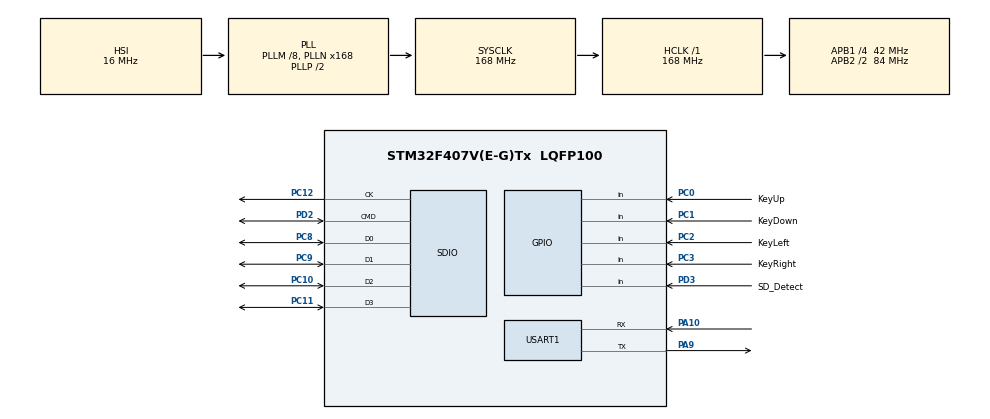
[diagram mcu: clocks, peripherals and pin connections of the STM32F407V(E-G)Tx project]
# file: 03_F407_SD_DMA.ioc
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Dma.Request0=SDIO_TX
Dma.Request1=SDIO_RX
Dma.SDIO_RX.1.Direction=DMA_PERIPH_TO_MEMORY
Dma.SDIO_RX.1.FIFOMode=DMA_FIFOMODE_ENABLE
Dma.SDIO_RX.1.FIFOThreshold=DMA_FIFO_THRESHOLD_FULL
Dma.SDIO_RX.1.Instance=DMA2_Stream6
Dma.SDIO_RX.1.MemBurst=DMA_MBURST_INC4
Dma.SDIO_RX.1.MemDataAlignment=DMA_MDATAALIGN_WORD
Dma.SDIO_RX.1.MemInc=DMA_MINC_ENABLE
Dma.SDIO_RX.1.Mode=DMA_PFCTRL
Dma.SDIO_RX.1.PeriphBurst=DMA_PBURST_INC4
Dma.SDIO_RX.1.PeriphDataAlignment=DMA_PDATAALIGN_WORD
Dma.SDIO_RX.1.PeriphInc=DMA_PINC_DISABLE
Dma.SDIO_RX.1.Priority=DMA_PRIORITY_MEDIUM
Dma.SDIO_TX.0.Direction=DMA_MEMORY_TO_PERIPH
Dma.SDIO_TX.0.FIFOMode=DMA_FIFOMODE_ENABLE
Dma.SDIO_TX.0.FIFOThreshold=DMA_FIFO_THRESHOLD_FULL
Dma.SDIO_TX.0.Instance=DMA2_Stream3
Dma.SDIO_TX.0.MemBurst=DMA_MBURST_INC4
Dma.SDIO_TX.0.MemDataAlignment=DMA_MDATAALIGN_WORD
Dma.SDIO_TX.0.MemInc=DMA_MINC_ENABLE
Dma.SDIO_TX.0.Mode=DMA_PFCTRL
Dma.SDIO_TX.0.PeriphBurst=DMA_PBURST_INC4
Dma.SDIO_TX.0.PeriphDataAlignment=DMA_PDATAALIGN_WORD
Dma.SDIO_TX.0.PeriphInc=DMA_PINC_DISABLE
Dma.SDIO_TX.0.Priority=DMA_PRIORITY_MEDIUM
Mcu.Family=STM32F4
Mcu.Name=STM32F407V(E-G)Tx
Mcu.Package=LQFP100
NVIC.DMA2_Stream3_IRQn=true\:2\:0\:true\:false\:true\:false\:true\:true
NVIC.DMA2_Stream6_IRQn=true\:2\:0\:true\:false\:true\:false\:true\:true
NVIC.PriorityGroup=NVIC_PRIORITYGROUP_4
NVIC.SDIO_IRQn=true\:1\:0\:true\:false\:true\:true\:true\:true
PA10.Mode=Asynchronous
PA10.Signal=USART1_RX
PA13.Mode=Serial_Wire
PA13.Signal=SYS_JTMS-SWDIO
PA14.Mode=Serial_Wire
PA14.Signal=SYS_JTCK-SWCLK
PA9.Mode=Asynchronous
PA9.Signal=USART1_TX
PC0.GPIO_Label=KeyUp
PC0.GPIO_PuPd=GPIO_PULLUP
PC0.Signal=GPIO_Input
PC1.GPIO_Label=KeyDown
PC1.GPIO_PuPd=GPIO_PULLUP
PC1.Signal=GPIO_Input
PC10.Mode=SD_4_bits_Wide_bus
PC10.Signal=SDIO_D2
PC11.Mode=SD_4_bits_Wide_bus
PC11.Signal=SDIO_D3
PC12.Mode=SD_4_bits_Wide_bus
PC12.Signal=SDIO_CK
PC2.GPIO_Label=KeyLeft
PC2.GPIO_PuPd=GPIO_PULLUP
PC2.Signal=GPIO_Input
PC3.GPIO_Label=KeyRight
PC3.GPIO_PuPd=GPIO_PULLUP
PC3.Signal=GPIO_Input
PC8.Mode=SD_4_bits_Wide_bus
PC8.Signal=SDIO_D0
PC9.Mode=SD_4_bits_Wide_bus
PC9.Signal=SDIO_D1
PD2.Mode=SD_4_bits_Wide_bus
PD2.Signal=SDIO_CMD
PD3.GPIO_Label=SD_Detect
PD3.GPIO_PuPd=GPIO_PULLUP
PD3.Signal=GPIO_Input
PH0-OSC_IN.Mode=HSE-External-Oscillator
PH0-OSC_IN.Signal=RCC_OSC_IN
PH1-OSC_OUT.Mode=HSE-External-Oscillator
PH1-OSC_OUT.Signal=RCC_OSC_OUT
ProjectManager.HeapSize=0x200
ProjectManager.StackSize=0x400
ProjectManager.TargetToolchain=MDK-ARM V5.32
RCC.48MHZClocksFreq_Value=48000000
RCC.AHBFreq_Value=168000000
RCC.APB1CLKDivider=RCC_HCLK_DIV4
RCC.APB1Freq_Value=42000000
RCC.APB1TimFreq_Value=84000000
RCC.APB2CLKDivider=RCC_HCLK_DIV2
RCC.APB2Freq_Value=84000000
RCC.APB2TimFreq_Value=168000000
RCC.CortexFreq_Value=168000000
RCC.HCLKFreq_Value=168000000
RCC.HSE_VALUE=25000000
RCC.HSI_VALUE=16000000
RCC.LSE_VALUE=32768
RCC.PLLM=8
RCC.PLLN=168
RCC.PLLQ=7
RCC.SYSCLKFreq_VALUE=168000000
RCC.SYSCLKSource=RCC_SYSCLKSOURCE_PLLCLK
RCC.VCOOutputFreq_Value=336000000
SDIO.ClockDiv=4
USART1.VirtualMode=VM_ASYNC
board=custom

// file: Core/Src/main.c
/* USER CODE BEGIN Header */
/**
  ******************************************************************************
  * @file           : main.c
  * @brief          : Main program body
  ******************************************************************************
  * @attention
  *
  * Copyright (c) 2025 STMicroelectronics.
  * All rights reserved.
  *
  * This software is licensed under terms that can be found in the LICENSE file
  * in the root directory of this software component.
  * If no LICENSE file comes with this software, it is provided AS-IS.
  *
  ******************************************************************************
  */
/* USER CODE END Header */
#include "main.h"

/* USER CODE BEGIN Includes */
#include "sd_card.h"
#include "keyled.h"
/* USER CODE END Includes */

/* USER CODE BEGIN PD */
 #ifdef __GNUC__
     #define PUTCHAR_PROTOTYPE int _io_putchar(int ch)
 #else
     #define PUTCHAR_PROTOTYPE int fputc(int ch, FILE *f)
 #endif
	 /* __GNUC__*/
/* USER CODE END PD */

SD_HandleTypeDef hsd;
DMA_HandleTypeDef hdma_sdio_tx;
DMA_HandleTypeDef hdma_sdio_rx;

UART_HandleTypeDef huart1;

void SystemClock_Config(void);
static void MX_GPIO_Init(void);
static void MX_DMA_Init(void);
static void MX_SDIO_SD_Init(void);
static void MX_USART1_UART_Init(void);

/* USER CODE BEGIN 0 */

 /******************************************************************
     *@brief  Retargets the C library printf  function to the USART.
     *@param  None
     *@retval None
 ******************************************************************/
 PUTCHAR_PROTOTYPE
 {
     HAL_UART_Transmit(&huart1, (uint8_t *)&ch,1,0xFFFF);
     return ch;
 }

/* USER CODE END 0 */

int main(void)
{

  /* MCU Configuration--------------------------------------------------------*/

  /* Reset of all peripherals, Initializes the Flash interface and the Systick. */
  HAL_Init();

  /* Configure the system clock */
  SystemClock_Config();

  /* Initialize all configured peripherals */
  MX_GPIO_Init();
  MX_DMA_Init();
  MX_SDIO_SD_Init();
  MX_USART1_UART_Init();
  /* USER CODE BEGIN 2 */

	while(TF_Card_Detect() == 0)
	{
		printf("SD Not Exist\r\n");
		HAL_Delay(500);
	}

	printf("SD ready Exist\r\n");

    // setvbuf(stdout, NULL, _IONBF, 0);
    printf("初始化完毕\r\n");

    printf("Demo03: SD card R/W-DMA\r\n");
    printf("Read/write SD card via DMA\r\n");
    printf("[1]KeyUp   = SD card info\r\n");
    printf("[2]KeyDown = Erase 0-10 blocks\r\n");
    printf("[3]KeyLeft = Write block\r\n");
    printf("[4]KeyRight = Read block\r\n");

  /* USER CODE END 2 */

  /* Infinite loop */
  /* USER CODE BEGIN WHILE */
  while (1)
  {
	   KEYS waitKey = ScanPressedKey(KEY_WAIT_ALWAYS);
        if (waitKey == KEY_UP)
		{
        	printf("\r\n");
            SDCard_ShowInfo();
			printf("Reselect menu item or reset\r\n");
			printf("\r\n");

        } else if (waitKey == KEY_DOWN)
		{
			printf("\r\n");
            SDCard_EraseBlocks();
			printf("Reselect menu item or reset\r\n");
			printf("\r\n");

        } else if (waitKey == KEY_LEFT)
		{
			printf("\r\n");
            SDCard_TestWrite_DMA();
			printf("\r\n");
        } else if (waitKey == KEY_RIGHT)
		{
			printf("\r\n");
            SDCard_TestRead_DMA();

			printf("\r\n");
        }
        HAL_Delay(500);

    /* USER CODE END WHILE */

  }
}

void SystemClock_Config(void)
{
  RCC_OscInitTypeDef RCC_OscInitStruct = {0};
  RCC_ClkInitTypeDef RCC_ClkInitStruct = {0};

  /** Configure the main internal regulator output voltage
  */
  __HAL_RCC_PWR_CLK_ENABLE();
  __HAL_PWR_VOLTAGESCALING_CONFIG(PWR_REGULATOR_VOLTAGE_SCALE1);

  /** Initializes the RCC Oscillators according to the specified parameters
  * in the RCC_OscInitTypeDef structure.
  */
  RCC_OscInitStruct.OscillatorType = RCC_OSCILLATORTYPE_HSI;
  RCC_OscInitStruct.HSIState = RCC_HSI_ON;
  RCC_OscInitStruct.HSICalibrationValue = RCC_HSICALIBRATION_DEFAULT;
  RCC_OscInitStruct.PLL.PLLState = RCC_PLL_ON;
  RCC_OscInitStruct.PLL.PLLSource = RCC_PLLSOURCE_HSI;
  RCC_OscInitStruct.PLL.PLLM = 8;
  RCC_OscInitStruct.PLL.PLLN = 168;
  RCC_OscInitStruct.PLL.PLLP = RCC_PLLP_DIV2;
  RCC_OscInitStruct.PLL.PLLQ = 7;
  if (HAL_RCC_OscConfig(&RCC_OscInitStruct) != HAL_OK)
  {
    Error_Handler();
  }

  /** Initializes the CPU, AHB and APB buses clocks
  */
  RCC_ClkInitStruct.ClockType = RCC_CLOCKTYPE_HCLK|RCC_CLOCKTYPE_SYSCLK
                              |RCC_CLOCKTYPE_PCLK1|RCC_CLOCKTYPE_PCLK2;
  RCC_ClkInitStruct.SYSCLKSource = RCC_SYSCLKSOURCE_PLLCLK;
  RCC_ClkInitStruct.AHBCLKDivider = RCC_SYSCLK_DIV1;
  RCC_ClkInitStruct.APB1CLKDivider = RCC_HCLK_DIV4;
  RCC_ClkInitStruct.APB2CLKDivider = RCC_HCLK_DIV2;

  if (HAL_RCC_ClockConfig(&RCC_ClkInitStruct, FLASH_LATENCY_5) != HAL_OK)
  {
    Error_Handler();
  }
}

static void MX_SDIO_SD_Init(void)
{

  hsd.Instance = SDIO;
  hsd.Init.ClockEdge = SDIO_CLOCK_EDGE_RISING;
  hsd.Init.ClockBypass = SDIO_CLOCK_BYPASS_DISABLE;
  hsd.Init.ClockPowerSave = SDIO_CLOCK_POWER_SAVE_DISABLE;
  hsd.Init.BusWide = SDIO_BUS_WIDE_1B;
  hsd.Init.HardwareFlowControl = SDIO_HARDWARE_FLOW_CONTROL_DISABLE;
  hsd.Init.ClockDiv = 4;
  if (HAL_SD_Init(&hsd) != HAL_OK)
  {
    Error_Handler();
  }
  if (HAL_SD_ConfigWideBusOperation(&hsd, SDIO_BUS_WIDE_4B) != HAL_OK)
  {
    Error_Handler();
  }

}

static void MX_USART1_UART_Init(void)
{

  huart1.Instance = USART1;
  huart1.Init.BaudRate = 115200;
  huart1.Init.WordLength = UART_WORDLENGTH_8B;
  huart1.Init.StopBits = UART_STOPBITS_1;
  huart1.Init.Parity = UART_PARITY_NONE;
  huart1.Init.Mode = UART_MODE_TX_RX;
  huart1.Init.HwFlowCtl = UART_HWCONTROL_NONE;
  huart1.Init.OverSampling = UART_OVERSAMPLING_16;
  if (HAL_UART_Init(&huart1) != HAL_OK)
  {
    Error_Handler();
  }

}

static void MX_DMA_Init(void)
{

  /* DMA controller clock enable */
  __HAL_RCC_DMA2_CLK_ENABLE();

  /* DMA interrupt init */
  /* DMA2_Stream3_IRQn interrupt configuration */
  HAL_NVIC_SetPriority(DMA2_Stream3_IRQn, 2, 0);
  HAL_NVIC_EnableIRQ(DMA2_Stream3_IRQn);
  /* DMA2_Stream6_IRQn interrupt configuration */
  HAL_NVIC_SetPriority(DMA2_Stream6_IRQn, 2, 0);
  HAL_NVIC_EnableIRQ(DMA2_Stream6_IRQn);

}

static void MX_GPIO_Init(void)
{
  GPIO_InitTypeDef GPIO_InitStruct = {0};

  /* GPIO Ports Clock Enable */
  __HAL_RCC_GPIOH_CLK_ENABLE();
  __HAL_RCC_GPIOC_CLK_ENABLE();
  __HAL_RCC_GPIOA_CLK_ENABLE();
  __HAL_RCC_GPIOD_CLK_ENABLE();

  /*Configure GPIO pins : KeyUp_Pin KeyDown_Pin KeyLeft_Pin KeyRight_Pin */
  GPIO_InitStruct.Pin = KeyUp_Pin|KeyDown_Pin|KeyLeft_Pin|KeyRight_Pin;
  GPIO_InitStruct.Mode = GPIO_MODE_INPUT;
  GPIO_InitStruct.Pull = GPIO_PULLUP;
  HAL_GPIO_Init(GPIOC, &GPIO_InitStruct);

  /*Configure GPIO pin : SD_Detect_Pin */
  GPIO_InitStruct.Pin = SD_Detect_Pin;
  GPIO_InitStruct.Mode = GPIO_MODE_INPUT;
  GPIO_InitStruct.Pull = GPIO_PULLUP;
  HAL_GPIO_Init(SD_Detect_GPIO_Port, &GPIO_InitStruct);

}

void Error_Handler(void)
{
  __disable_irq();
  while (1)
  {
  }
}
